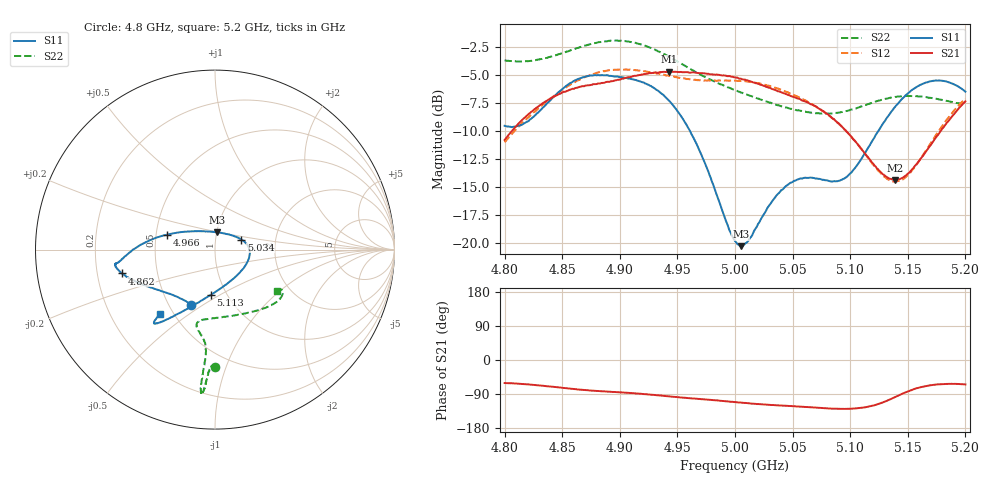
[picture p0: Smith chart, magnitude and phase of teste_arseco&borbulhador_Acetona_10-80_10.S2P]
! Network Analyzer HP8722D
! Hewlett-Packard
! Data name: Linha & Wilkinson
! Saver's name: Rodrigo Anjos
! Comments: Teste da utilização de aquisição
! continua pelo VNA HP8722D
! Time and date: 17/4/2025 14:26
!  Frequency  S11  S21  S12  S22
# HZ  S  MA R 50
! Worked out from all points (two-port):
!   401 points, 4.8 GHz to 5.2 GHz, reference 50 ohm
!   highest |S21| = -4.68 dB at 4.943 GHz (marker M1); lowest = -14.4 dB at 5.139 GHz (marker M2)
!   |S21| within 3 dB of the highest: 4.831 GHz to 5.068 GHz (237.2 MHz wide, 4.79 % of centre); 5.196784 GHz to end of sweep
!   lowest |S11| = -20.3 dB at 5.005 GHz (marker M3), VSWR 1.21, Z = 50 + j9.7 ohm
!   |S11| at or under -10 dB: 4.961 GHz to 5.124 GHz (163.4 MHz wide, 3.24 % of centre)
!   |S22| runs from -8.5 to -1.9 dB; largest |S21 - S12| = 0.87
!   S11 on the Smith chart (normalised r, x): 4.8 GHz: 0.65, -0.45; 4.862 GHz: 0.31, -0.11; 4.966 GHz: 0.57, +0.10; 5.034 GHz: 1.34, +0.15; 5.113 GHz: 0.84, -0.45; 5.2 GHz: 0.42, -0.39
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4.8e9  0.3338 -113.4  0.2884 -60.8  0.282 -175.0  0.656 -90.0
4.819e9  0.3472 -133.3  0.3695 -64.1  0.358 -173.5  0.6504 -91.6
4.862e9  0.5361 -165.7  0.4935 -77.0  0.5284 -176.8  0.7412 -93.9
4.867e9  0.5481 -167.7  0.5016 -78.6  0.5438 -177.8  0.757 -94.1
4.899e9  0.5525 -172.2  0.5367 -85.2  0.5956 175.5  0.8013 -95.4
4.934e9  0.4757 -178.1  0.5794 -93.4  0.5726 171.8  0.7177 -95.8
4.943e9  0.4312 177.8  0.5831 -96.1  0.5584 171.7  0.6791 -95.6
4.966e9  0.281 162.8  0.5768 -102.0  0.5363 173.7  0.5801 -95.0
5e9  0.1019 101.7  0.5498 -111.1  0.532 176.1  0.4814 -99.3
5.005e9  0.09647 84.2  0.543 -112.4  0.5296 176.1  0.4704 -100.3
5.013e9  0.1049 58.6  0.5285 -114.4  0.5247 175.9  0.4548 -102.1
5.034e9  0.1576 20.9  0.4843 -119.1  0.4956 174.9  0.4174 -103.6
5.049e9  0.1861 5.6  0.4524 -121.6  0.4646 174.2  0.3976 -100.2
5.067e9  0.1954 -13.5  0.4156 -125.0  0.4175 173.7  0.3828 -90.9
5.093e9  0.1917 -57.8  0.3304 -128.9  0.3296 174.0  0.3847 -70.7
5.113e9  0.2531 -95.2  0.2499 -124.9  0.2497 179.8  0.4136 -55.0
5.134e9  0.3753 -116.3  0.1935 -104.8  0.1904 -157.6  0.4451 -43.0
5.139e9  0.4064 -119.4  0.1909 -97.8  0.188 -149.8  0.4497 -40.8
5.151e9  0.4702 -124.5  0.2054 -81.8  0.2035 -131.2  0.4543 -36.4
5.17e9  0.5287 -128.8  0.2741 -66.5  0.2797 -112.6  0.4452 -32.0
5.184e9  0.526 -130.1  0.3451 -63.1  0.3564 -107.4  0.4316 -31.0
5.2e9  0.4748 -130.5  0.4295 -64.4  0.4415 -106.5  0.4149 -33.3
